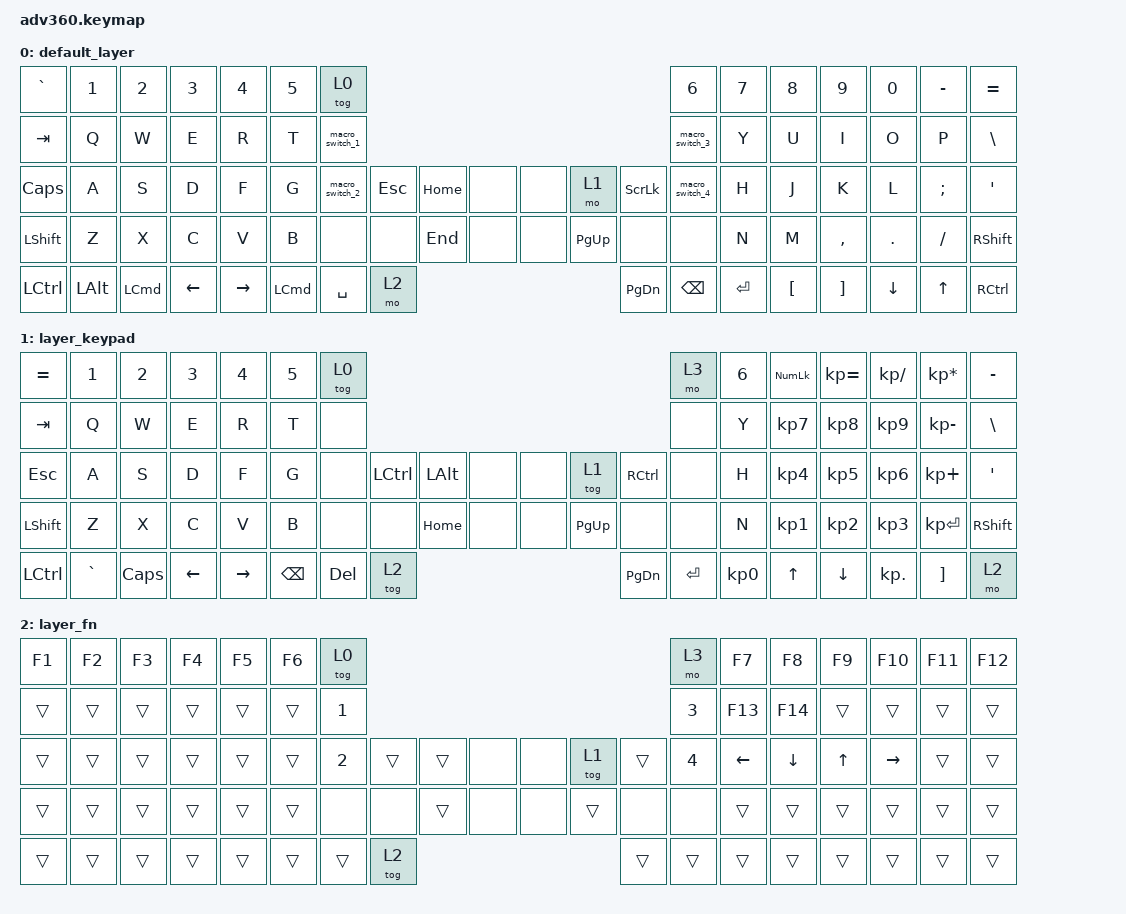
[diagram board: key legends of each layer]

/*
 * Copyright (c) 2020 The ZMK Contributors
 *
 * SPDX-License-Identifier: MIT
 */


/* THIS FILE WAS GENERATED!
 *
 * This file was generated automatically. You may or may not want to
 * edit it directly.
 */

#include <behaviors.dtsi>
#include <dt-bindings/zmk/keys.h>

/ {
  behaviors {
    #include "macros.dtsi"
    #include "version.dtsi"

    hm: homerow_mods {
        compatible = "zmk,behavior-hold-tap";
        label = "HOMEROW_MODS";
        #binding-cells = <2>;
        tapping-term-ms = <200>;
        quick_tap_ms = <175>;
        flavor = "tap-preferred";
        bindings = <&kp>, <&kp>;
    };
  };

    keymap {
        compatible = "zmk,keymap";


        default_layer {
            bindings = <
 &kp GRAVE    &kp N1    &kp N2    &kp N3     &kp N4  &kp N5                     &tog 0                                                                           &kp N6  &kp N7    &kp N8     &kp N9    &kp N0  &kp MINUS  &kp EQUAL
   &kp TAB     &kp Q     &kp W     &kp E      &kp R   &kp T            &macro_switch_1                                                                  &macro_switch_3   &kp Y     &kp U      &kp I     &kp O      &kp P   &kp BSLH
  &kp CAPS     &kp A     &kp S     &kp D      &kp F   &kp G            &macro_switch_2    &kp ESC  &kp HOME   &none   &none      &mo 1  &kp SCROLLLOCK  &macro_switch_4   &kp H     &kp J      &kp K     &kp L   &kp SEMI    &kp SQT
 &kp LSHFT     &kp Z     &kp X     &kp C      &kp V   &kp B                      &none      &none   &kp END   &none   &none  &kp PG_UP           &none            &none   &kp N     &kp M  &kp COMMA   &kp DOT   &kp FSLH  &kp RSHFT
 &kp LCTRL  &kp LALT  &kp LCMD  &kp LEFT  &kp RIGHT                           &kp LCMD  &kp SPACE     &mo 2                  &kp PG_DN        &kp BSPC        &kp ENTER          &kp LBKT   &kp RBKT  &kp DOWN     &kp UP  &kp RCTRL
            >;
        };

        layer_keypad {
            bindings = <
 &kp EQUAL     &kp N1    &kp N2    &kp N3     &kp N4  &kp N5              &tog 0                                                                 &mo 3  &kp N6  &kp KP_NUM  &kp KP_EQUAL  &kp KP_DIVIDE  &kp KP_MULTIPLY  &kp MINUS
   &kp TAB      &kp Q     &kp W     &kp E      &kp R   &kp T               &none                                                                 &none   &kp Y   &kp KP_N7     &kp KP_N8      &kp KP_N9     &kp KP_MINUS   &kp BSLH
   &kp ESC      &kp A     &kp S     &kp D      &kp F   &kp G               &none  &kp LCTRL  &kp LALT   &none   &none     &tog 1  &kp RCTRL      &none   &kp H   &kp KP_N4     &kp KP_N5      &kp KP_N6      &kp KP_PLUS    &kp SQT
 &kp LSHFT      &kp Z     &kp X     &kp C      &kp V   &kp B               &none      &none  &kp HOME   &none   &none  &kp PG_UP      &none      &none   &kp N   &kp KP_N1     &kp KP_N2      &kp KP_N3     &kp KP_ENTER  &kp RSHFT
 &kp LCTRL  &kp GRAVE  &kp CAPS  &kp LEFT  &kp RIGHT                    &kp BSPC    &kp DEL    &tog 2                  &kp PG_DN  &kp ENTER  &kp KP_N0              &kp UP      &kp DOWN     &kp KP_DOT         &kp RBKT      &mo 2
            >;
        };

        layer_fn {
            bindings = <
 &kp F1  &kp F2  &kp F3  &kp F4  &kp F5  &kp F6                  &tog 0                                                         &mo 3    &kp F7    &kp F8  &kp F9    &kp F10  &kp F11  &kp F12
 &trans  &trans  &trans  &trans  &trans  &trans            &kp NUMBER_1                                                  &kp NUMBER_3   &kp F13   &kp F14  &trans     &trans   &trans   &trans
 &trans  &trans  &trans  &trans  &trans  &trans            &kp NUMBER_2  &trans  &trans   &none   &none  &tog 1  &trans  &kp NUMBER_4  &kp LEFT  &kp DOWN  &kp UP  &kp RIGHT   &trans   &trans
 &trans  &trans  &trans  &trans  &trans  &trans                   &none   &none  &trans   &none   &none  &trans   &none         &none    &trans    &trans  &trans     &trans   &trans   &trans
 &trans  &trans  &trans  &trans  &trans                          &trans  &trans  &tog 2                  &trans  &trans        &trans              &trans  &trans     &trans   &trans   &trans
            >;
        };

    };
};
